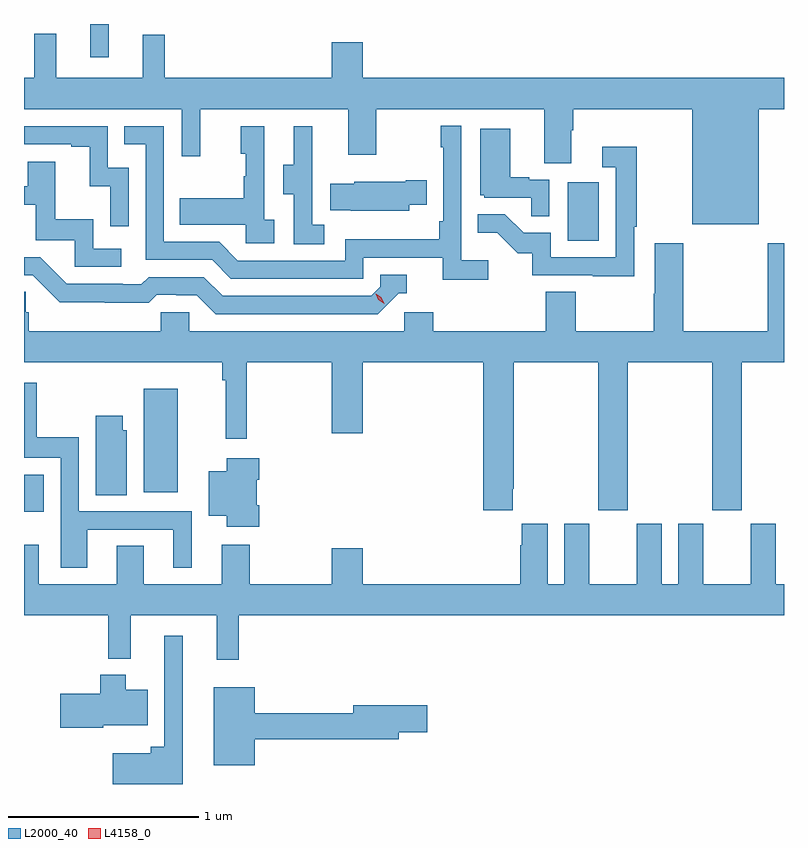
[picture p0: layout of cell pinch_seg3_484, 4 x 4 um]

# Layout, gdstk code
import gdstk
lib = gdstk.Library(unit=1e-6, precision=1e-09)
def R(c, l, rs):  # rectangles x0, y0, x1, y1
    for r in rs: c.add(gdstk.rectangle(r[:2], r[2:], *l))
def P(c, l, *ps):  # polygons
    for p in ps: c.add(gdstk.Polygon(p, *l))
L2000_40 = (2000, 40)
L4158_0 = (4158, 0)

pinch_seg3_484 = lib.new_cell('pinch_seg3_484')
R(pinch_seg3_484, L2000_40, [(1014.536,676.154,1014.64,676.348), (1015.166,676.256,1015.345,676.801), (1017.398,677.58,1017.562,677.887), (1014.884,678.546,1014.981,678.72)])
P(pinch_seg3_484, L2000_40, [(1015.365,678.024),(1015.463,678.024),(1015.463,678.272),(1016.243,678.272),(1016.243,678.033),(1016.391,678.033),(1016.391,678.272),(1017.275,678.272),(1017.275,677.986),(1017.415,677.986),(1017.415,678.16),(1017.428,678.16),(1017.428,678.272),(1018.052,678.272),(1018.052,677.666),(1018.402,677.666),(1018.402,678.272),(1018.536,678.272),(1018.536,678.436),(1016.32,678.436),(1016.32,678.625),(1016.156,678.625),(1016.156,678.436),(1015.277,678.436),(1015.277,678.664),(1015.16,678.664),(1015.16,678.436),(1014.707,678.436),(1014.707,678.67),(1014.589,678.67),(1014.589,678.436),(1014.536,678.436),(1014.536,678.272),(1015.365,678.272)],
  [(1016.98,677.476),(1016.838,677.476),(1016.838,678.184),(1016.73,678.184),(1016.73,678.071),(1016.742,678.071),(1016.742,677.683),(1016.722,677.683),(1016.722,677.587),(1016.226,677.587),(1016.226,677.475),(1015.662,677.475),(1015.563,677.574),(1015.272,677.574),(1015.272,678.183),(1015.063,678.183),(1015.063,678.087),(1015.176,678.087),(1015.176,677.478),(1015.526,677.478),(1015.625,677.379),(1016.322,677.379),(1016.322,677.49),(1016.741,677.49),(1016.741,677.374),(1016.98,677.374)],
  [(1015.086,677.964),(1014.978,677.964),(1014.978,678.183),(1014.536,678.183),(1014.536,678.087),(1014.785,678.087),(1014.785,678.075),(1014.881,678.075),(1014.881,677.867),(1014.99,677.867),(1014.99,677.655),(1015.086,677.655)],
  [(1016.116,677.663),(1016.052,677.663),(1016.052,677.967),(1016.054,677.967),(1016.054,678.181),(1015.955,678.181),(1015.955,677.979),(1015.901,677.979),(1015.901,677.824),(1015.956,677.824),(1015.956,677.56),(1016.116,677.56)],
  [(1015.852,677.69),(1015.8,677.69),(1015.8,678.181),(1015.676,678.181),(1015.676,678.036),(1015.702,678.036),(1015.702,677.918),(1015.692,677.918),(1015.692,677.803),(1015.357,677.803),(1015.357,677.663),(1015.704,677.663),(1015.704,677.565),(1015.852,677.565)],
  [(1017.3,677.901),(1017.194,677.901),(1017.194,677.914),(1017.094,677.914),(1017.094,678.169),(1016.936,678.169),(1016.936,677.82),(1016.958,677.82),(1016.958,677.805),(1017.205,677.805),(1017.205,677.707),(1017.3,677.707)],
  [(1017.747,677.653),(1017.76,677.653),(1017.76,678.073),(1017.579,678.073),(1017.579,677.967),(1017.651,677.967),(1017.651,677.493),(1017.309,677.493),(1017.309,677.622),(1017.165,677.622),(1017.067,677.72),(1016.923,677.72),(1016.923,677.621),(1017.027,677.621),(1017.134,677.514),(1017.211,677.514),(1017.211,677.397),(1017.529,677.397),(1017.529,677.392),(1017.747,677.392)],
  [(1015.048,677.538),(1014.9,677.538),(1014.9,677.692),(1014.701,677.692),(1014.701,677.995),(1014.557,677.995),(1014.557,677.865),(1014.536,677.865),(1014.536,677.769),(1014.599,677.769),(1014.599,677.583),(1014.804,677.583),(1014.804,677.442),(1015.048,677.442)],
  [(1016.563,677.768),(1016.657,677.768),(1016.657,677.898),(1016.546,677.898),(1016.546,677.89),(1016.274,677.89),(1016.274,677.878),(1016.149,677.878),(1016.149,677.741),(1016.257,677.741),(1016.257,677.738),(1016.563,677.738)],
  [(1017.109,676.273),(1017.114,676.273),(1017.114,676.94),(1017.559,676.94),(1017.559,676.161),(1017.714,676.161),(1017.714,676.94),(1018.159,676.94),(1018.159,676.161),(1018.314,676.161),(1018.314,676.94),(1018.536,676.94),(1018.536,677.566),(1018.45,677.566),(1018.45,677.104),(1018.005,677.104),(1018.005,677.566),(1017.857,677.566),(1017.857,677.3),(1017.85,677.3),(1017.85,677.104),(1017.441,677.104),(1017.441,677.312),(1017.281,677.312),(1017.281,677.104),(1016.69,677.104),(1016.69,677.202),(1016.538,677.202),(1016.538,677.104),(1015.407,677.104),(1015.407,677.202),(1015.257,677.202),(1015.257,677.104),(1014.56,677.104),(1014.56,677.202),(1014.545,677.202),(1014.545,677.312),(1014.536,677.312),(1014.536,676.94),(1015.579,676.94),(1015.579,676.844),(1015.597,676.844),(1015.597,676.536),(1015.708,676.536),(1015.708,676.94),(1016.156,676.94),(1016.156,676.566),(1016.32,676.566),(1016.32,676.94),(1016.954,676.94),(1016.954,676.161),(1017.109,676.161)],
  [(1016.508,677.304),(1016.551,677.304),(1016.551,677.4),(1016.412,677.4),(1016.412,677.337),(1016.364,677.289),(1015.581,677.289),(1015.482,677.388),(1015.193,677.388),(1015.154,677.349),(1015.055,677.349),(1015.055,677.352),(1014.762,677.352),(1014.621,677.493),(1014.536,677.493),(1014.536,677.397),(1014.582,677.397),(1014.724,677.255),(1014.96,677.255),(1014.96,677.253),(1015.193,677.253),(1015.235,677.295),(1015.338,677.295),(1015.338,677.292),(1015.445,677.292),(1015.544,677.193),(1016.397,677.193)],
  [(1014.868,676.059),(1015.322,676.059),(1015.322,675.858),(1015.42,675.858),(1015.42,676.155),(1014.825,676.155),(1014.825,676.546),(1014.604,676.546),(1014.604,676.831),(1014.536,676.831),(1014.536,676.437),(1014.729,676.437),(1014.729,675.858),(1014.868,675.858)],
  [(1015.078,676.581),(1015.057,676.581),(1015.057,676.657),(1014.914,676.657),(1014.914,676.24),(1015.078,676.24)],
  [(1015.775,676.186),(1015.762,676.186),(1015.762,676.322),(1015.775,676.322),(1015.775,676.435),(1015.604,676.435),(1015.604,676.366),(1015.508,676.366),(1015.508,676.133),(1015.604,676.133),(1015.604,676.074),(1015.775,676.074)],
  [(1015.667,675.608),(1018.536,675.608),(1018.536,675.772),(1018.492,675.772),(1018.492,676.09),(1018.361,676.09),(1018.361,675.772),(1018.111,675.772),(1018.111,676.09),(1017.98,676.09),(1017.98,675.772),(1017.892,675.772),(1017.892,676.09),(1017.761,676.09),(1017.761,675.772),(1017.511,675.772),(1017.511,676.09),(1017.38,676.09),(1017.38,675.772),(1017.292,675.772),(1017.292,676.09),(1017.155,676.09),(1017.155,675.977),(1017.149,675.977),(1017.149,675.772),(1016.32,675.772),(1016.32,675.961),(1016.156,675.961),(1016.156,675.772),(1015.725,675.772),(1015.725,675.979),(1015.577,675.979),(1015.577,675.772),(1015.165,675.772),(1015.165,675.974),(1015.025,675.974),(1015.025,675.772),(1014.613,675.772),(1014.613,675.979),(1014.536,675.979),(1014.536,675.608),(1014.979,675.608),(1014.979,675.38),(1015.097,675.38),(1015.097,675.608),(1015.55,675.608),(1015.55,675.375),(1015.667,675.375)],
  [(1015.372,675.499),(1015.275,675.499),(1015.275,674.917),(1015.202,674.917),(1015.202,674.881),(1015.002,674.881),(1015.002,674.72),(1015.372,674.72)],
  [(1014.954,675.029),(1015.186,675.029),(1015.186,675.217),(1015.072,675.217),(1015.072,675.295),(1014.938,675.295),(1014.938,675.195),(1014.726,675.195),(1014.726,675.017),(1014.954,675.017)],
  [(1015.75,674.956),(1016.509,674.956),(1016.509,674.993),(1016.659,674.993),(1016.659,675.135),(1016.27,675.135),(1016.27,675.092),(1015.75,675.092),(1015.75,675.229),(1015.535,675.229),(1015.535,674.819),(1015.75,674.819)])
P(pinch_seg3_484, L4158_0, [(1016.431,677.248),(1016.401,677.268),(1016.386,677.301),(1016.386,677.301),(1016.386,677.301),(1016.416,677.281),(1016.432,677.248),(1016.432,677.248)])

lib.write_gds('pinch_seg3_484.gds')
